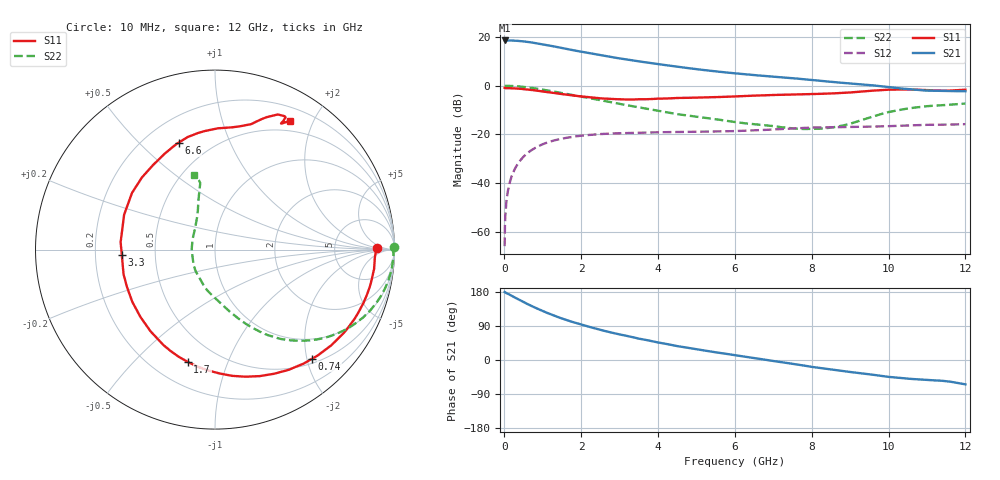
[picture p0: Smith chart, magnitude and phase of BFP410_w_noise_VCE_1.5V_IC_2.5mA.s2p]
! Infineon Technologies  Discrete & RF Semiconductors
! BFP410
! VCE =  1.5 V,  IC =  2.5 mA
! Common Emitter S-Parameters:  Nov 2015
# GHz  S  MA  R  50
!  f  S11  S21  S12  S22
! GHz  MAG  ANG  MAG  ANG  MAG  ANG  MAG  ANG
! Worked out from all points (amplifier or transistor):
!   243 points, 10 MHz to 12 GHz, reference 50 ohm
!   highest |S21| = 18.6 dB at 20 MHz (marker M1)
!   |S21| within 3 dB of that: start of sweep to 1.465 GHz
!   unconditionally stable (mu >= 1): 3.804 GHz to end of sweep
!   at 240 MHz: K = 0.05, MSG = 27.0 dB, |S12| = -35.4 dB
!   at 1.84 GHz: K = 0.44, MSG = 17.7 dB, |S12| = -20.9 dB
!   at 12 GHz: K = 1.13, MAG = 4.6 dB, |S12| = -15.8 dB
!   lowest NFmin = 0.84 dB at 900 MHz
!   S11 on the Smith chart (normalised r, x): 10 MHz: 20, +1; 740 MHz: 0.58, -2.10; 1.7 GHz: 0.34, -0.73; 3.3 GHz: 0.32, -0.03; 6.6 GHz: 0.34, +0.66; 12 GHz: 0.37, +1.68
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0.01  0.9052 0.4  8.489 179.4  0.0005 69.2  0.9956 0.7
0.02  0.8949 -1.2  8.551 179.0  0.0014 85.9  0.9918 -0.2
0.04  0.8926 -2.5  8.521 177.5  0.0029 87.0  0.9935 -1.1
0.07  0.8919 -4.5  8.523 175.9  0.0051 86.9  0.994 -2.4
0.2  0.8873 -13.2  8.519 169.2  0.0142 82.9  0.9881 -7.3
0.36  0.8722 -23.8  8.376 160.6  0.0252 77.3  0.9706 -13.1
0.5  0.8545 -33.0  8.181 153.2  0.0346 72.4  0.9485 -17.9
0.74  0.8138 -48.3  7.709 141.2  0.049 64.1  0.8982 -25.8
0.98  0.7692 -63.4  7.174 130.1  0.0616 56.8  0.8392 -33.0
1.18  0.7317 -75.2  6.709 121.7  0.0704 51.0  0.7879 -38.4
1.4  0.6909 -87.8  6.192 113.0  0.0784 45.4  0.7317 -43.7
1.7  0.6436 -103.7  5.575 102.7  0.087 38.7  0.6624 -49.8
2.02  0.6009 -119.4  4.982 93.0  0.0941 32.7  0.5963 -55.3
2.6  0.5452 -147.5  4.124 77.0  0.1024 23.3  0.4854 -64.2
3.3  0.5201 -176.7  3.354 61.2  0.1069 15.4  0.3839 -73.3
4.1  0.5436 156.2  2.726 44.6  0.1107 9.0  0.2958 -84.8
5  0.5722 135.3  2.195 28.2  0.1131 3.6  0.2306 -101.0
6.1  0.6069 116.2  1.772 11.2  0.1174 -0.5  0.1751 -121.1
6.6  0.6291 108.8  1.633 3.6  0.1215 -2.2  0.1586 -133.8
8.2  0.6809 85.3  1.272 -20.8  0.1385 -11.5  0.1304 168.4
10.2  0.834 63.8  0.904 -46.3  0.1494 -21.6  0.3085 107.0
12  0.8282 59.9  0.771 -64.2  0.1621 -33.9  0.4302 105.7
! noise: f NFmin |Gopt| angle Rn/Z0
0.45  0.88  0.45  7  0.25
0.9  0.84  0.43  20  0.24
1.8  1.06  0.33  53  0.2
2.4  1.09  0.33  62  0.18
5.5  2.15  0.34  -141  0.2
10  3.77  0.69  -55  2.12
